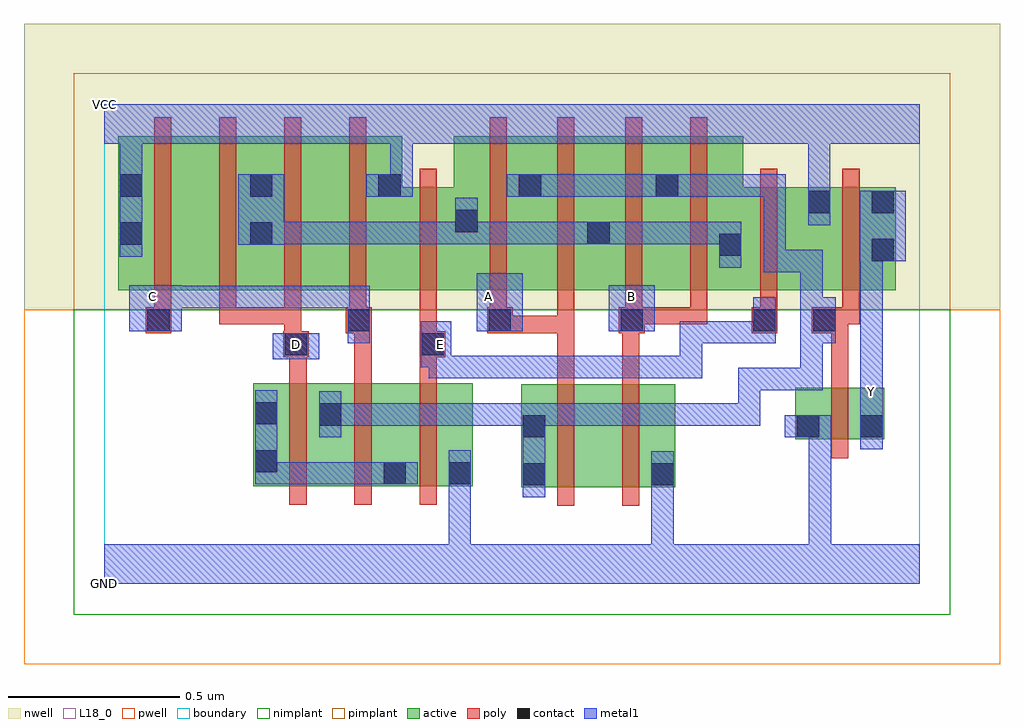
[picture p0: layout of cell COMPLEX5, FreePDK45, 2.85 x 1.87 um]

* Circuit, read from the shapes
.subckt COMPLEX5 A B C D E GND VCC Y
M1 n1 D n2 VSUBS nfet w=0.3u l=0.05u
M2 n2 C n1 VSUBS nfet w=0.3u l=0.05u
M3 GND E n2 VSUBS nfet w=0.3u l=0.05u
M4 n3 A n1 VSUBS nfet w=0.3u l=0.05u
M5 GND B n3 VSUBS nfet w=0.3u l=0.05u
M6 Y n1 GND VSUBS nfet w=0.15u l=0.05u
M7 n4 C VCC n5 pfet w=0.45u l=0.05u
M8 n6 D n4 n5 pfet w=0.45u l=0.05u
M9 n7 D n6 n5 pfet w=0.45u l=0.05u
M10 VCC C n7 n5 pfet w=0.45u l=0.05u
M11 n6 E VCC n5 pfet w=0.3u l=0.05u m=2
M12 n1 A n6 n5 pfet w=0.45u l=0.05u m=2
M13 n1 B n6 n5 pfet w=0.45u l=0.05u m=2
M14 Y n1 VCC n5 pfet w=0.3u l=0.05u
.ends

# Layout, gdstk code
import gdstk
lib = gdstk.Library(unit=1e-6, precision=1e-09)
def R(c, l, rs):  # rectangles x0, y0, x1, y1
    for r in rs: c.add(gdstk.rectangle(r[:2], r[2:], *l))
def A(c, l, x, y, w, h, nx, ny, dx, dy):  # array of equal rectangles
    R(c, l, [(x+i*dx, y+j*dy, x+i*dx+w, y+j*dy+h) for i in range(nx) for j in range(ny)])
active = (1, 0)
pwell = (2, 0)
nwell = (3, 0)
nimplant = (4, 0)
pimplant = (5, 0)
poly = (9, 0)
contact = (10, 0)
metal1 = (11, 0)
L18_0 = (18, 0)
boundary = (235, 0)

complex5 = lib.new_cell('COMPLEX5')
R(complex5, active, [(1.217,0.282,1.442,0.582), (1.217,0.282,1.292,0.497), (1.442,0.282,1.667,0.582), (1.592,0.282,1.667,0.417), (0.435,0.285,0.697,0.585), (0.622,0.285,0.885,0.585), (0.81,0.285,1.075,0.585), (0.81,0.285,0.885,0.547), (1,0.285,1.075,0.445), (0.435,0.32,0.51,0.585), (0.622,0.33,0.697,0.532), (2.017,0.422,2.277,0.572), (2.017,0.422,2.092,0.497), (2.202,0.422,2.277,0.572), (0.04,0.857,0.265,1.307), (0.04,0.857,0.115,1.305), (0.265,0.857,0.495,1.307), (0.42,0.857,0.495,1.2), (0.42,0.857,0.645,1.307), (0.645,0.857,0.87,1.307), (0.795,0.857,1.095,1.157), (1.02,0.857,1.28,1.307), (1.205,0.857,1.28,1.2), (1.205,0.857,1.48,1.307), (1.405,0.857,1.68,1.307), (1.405,0.857,1.48,1.07), (1.605,0.857,1.865,1.307), (1.605,0.857,1.68,1.2), (1.79,0.857,2.125,1.157), (2.05,0.857,2.31,1.157), (2.235,0.857,2.31,1.157), (1.79,0.952,1.865,1.07), (0.795,1.007,0.87,1.307), (1.02,1.007,1.095,1.2), (2.05,1.007,2.125,1.157)])
R(complex5, pwell, [(-0.235,-0.235,2.615,0.8)])
R(complex5, nwell, [(-0.235,0.8,2.615,1.635)])
R(complex5, nimplant, [(-0.09,-0.09,2.47,0.8)])
R(complex5, pimplant, [(-0.09,0.8,2.47,1.49)])
A(complex5, poly, 0.54, 0.23, 0.05, 0.41, 3, 1, 0.19, 0)
A(complex5, poly, 0.145, 0.757, 0.05, 0.095, 4, 1, 0.19, 0)
A(complex5, poly, 0.145, 0.802, 0.05, 0.56, 4, 1, 0.19, 0)
R(complex5, poly, [(1.322,0.227,1.372,0.637), (1.512,0.227,1.562,0.637), (2.122,0.367,2.172,0.627), (2.122,0.577,2.172,0.782), (1.322,0.587,1.372,0.782), (1.512,0.587,1.562,0.782), (0.54,0.59,0.59,0.712), (0.73,0.59,0.78,0.782), (0.92,0.59,0.97,0.712), (0.522,0.662,0.597,0.737), (0.92,0.662,0.995,0.737), (0.525,0.687,0.575,0.807), (0.92,0.687,0.97,0.737), (0.92,0.687,0.97,0.737), (0.92,0.687,0.97,0.852), (0.12,0.732,0.195,0.807), (0.705,0.732,0.78,0.807), (0.73,0.732,0.78,0.782), (0.73,0.732,0.78,0.782), (1.117,0.732,1.192,0.807), (1.142,0.732,1.192,0.782), (1.142,0.732,1.192,0.782), (1.142,0.732,1.372,0.782), (1.322,0.732,1.372,0.782), (1.322,0.732,1.372,0.782), (1.322,0.732,1.372,0.782), (1.322,0.732,1.372,0.852), (1.502,0.732,1.577,0.807), (1.512,0.732,1.562,0.782), (1.512,0.732,1.562,0.782), (1.89,0.732,1.965,0.807), (2.065,0.732,2.172,0.807), (0.335,0.757,0.385,0.807), (0.335,0.757,0.385,0.807), (0.335,0.757,0.385,0.807), (0.335,0.757,0.575,0.807), (0.525,0.757,0.575,0.807), (1.125,0.757,1.175,0.852), (1.52,0.757,1.57,0.852), (1.527,0.757,1.76,0.807), (1.71,0.757,1.76,0.852), (1.71,0.757,1.76,0.807), (1.71,0.757,1.76,0.807), (1.71,0.757,1.76,0.807), (1.915,0.757,1.965,0.852), (1.915,0.757,1.965,0.807), (1.915,0.757,1.965,0.807), (2.122,0.757,2.172,0.807), (2.122,0.757,2.205,0.807), (2.155,0.757,2.205,0.852), (0.92,0.802,0.97,1.212), (1.125,0.802,1.175,1.362), (1.322,0.802,1.372,1.362), (1.52,0.802,1.57,1.362), (1.71,0.802,1.76,1.362), (1.915,0.802,1.965,1.212), (2.155,0.802,2.205,1.212)])
R(complex5, contact, [(1.222,0.287,1.287,0.352), (1.597,0.287,1.662,0.352), (0.815,0.29,0.88,0.355), (1.005,0.29,1.07,0.355), (0.44,0.325,0.505,0.39), (1.222,0.427,1.287,0.492), (2.022,0.427,2.087,0.492), (2.207,0.427,2.272,0.492), (0.627,0.462,0.692,0.527), (0.44,0.465,0.505,0.53), (0.527,0.667,0.592,0.732), (0.925,0.667,0.99,0.732), (0.125,0.737,0.19,0.802), (0.71,0.737,0.775,0.802), (1.122,0.737,1.187,0.802), (1.507,0.737,1.572,0.802), (1.895,0.737,1.96,0.802), (2.07,0.737,2.135,0.802), (2.24,0.942,2.305,1.007), (1.795,0.957,1.86,1.022), (0.045,0.99,0.11,1.055), (0.425,0.99,0.49,1.055), (1.41,0.992,1.475,1.057), (1.025,1.027,1.09,1.092), (2.055,1.082,2.12,1.147), (2.24,1.082,2.305,1.147), (0.045,1.13,0.11,1.195), (0.425,1.13,0.49,1.195), (0.8,1.13,0.865,1.195), (1.21,1.13,1.275,1.195), (1.61,1.13,1.675,1.195)])
R(complex5, metal1, [(0,0,2.38,0.115), (1.005,0.05,1.07,0.32), (1.597,0.05,1.662,0.317), (2.057,0.05,2.122,0.115), (2.057,0.05,2.122,0.115), (2.057,0.05,2.122,0.492), (1.222,0.252,1.287,0.527), (1.597,0.252,1.662,0.317), (1.597,0.252,1.662,0.317), (1.597,0.252,1.662,0.317), (1.597,0.252,1.662,0.317), (1.597,0.252,1.662,0.387), (1.005,0.255,1.07,0.32), (1.005,0.255,1.07,0.32), (1.005,0.255,1.07,0.32), (1.005,0.255,1.07,0.32), (1.005,0.255,1.07,0.39), (0.44,0.29,0.505,0.355), (0.44,0.29,0.505,0.355), (0.44,0.29,0.505,0.565), (0.44,0.29,0.662,0.355), (0.597,0.29,0.662,0.355), (0.597,0.29,0.845,0.355), (0.78,0.29,0.845,0.355), (0.78,0.29,0.845,0.355), (0.78,0.29,0.915,0.355), (2.207,0.392,2.272,0.527), (0.627,0.427,0.692,0.562), (1.987,0.427,2.122,0.492), (2.057,0.427,2.122,0.492), (2.057,0.427,2.122,0.492), (2.057,0.427,2.122,0.492), (2.057,0.427,2.122,0.492), (0.627,0.462,0.692,0.527), (0.627,0.462,0.692,0.527), (0.627,0.462,0.852,0.527), (0.787,0.462,0.852,0.527), (0.787,0.462,0.99,0.527), (0.925,0.462,0.99,0.527), (0.925,0.462,0.99,0.527), (0.925,0.462,0.99,0.527), (0.925,0.462,1.15,0.527), (1.085,0.462,1.15,0.527), (1.085,0.462,1.287,0.527), (1.222,0.462,1.287,0.527), (1.222,0.462,1.287,0.527), (1.222,0.462,1.502,0.527), (1.437,0.462,1.502,0.527), (1.437,0.462,1.502,0.527), (1.437,0.462,1.502,0.527), (1.437,0.462,1.722,0.527), (1.657,0.462,1.722,0.527), (1.657,0.462,1.722,0.527), (1.657,0.462,1.722,0.527), (1.657,0.462,1.915,0.527), (1.85,0.462,1.915,0.63), (2.207,0.462,2.272,0.557), (2.207,0.492,2.272,0.627), (2.207,0.562,2.272,1.007), (1.85,0.565,1.915,0.63), (1.85,0.565,1.915,0.63), (1.85,0.565,2.097,0.63), (2.032,0.565,2.097,0.63), (2.032,0.565,2.097,0.837), (0.947,0.6,1.15,0.665), (0.947,0.6,1.012,0.697), (1.085,0.6,1.15,0.665), (1.085,0.6,1.302,0.665), (1.237,0.6,1.302,0.665), (1.237,0.6,1.302,0.665), (1.237,0.6,1.302,0.665), (1.237,0.6,1.502,0.665), (1.437,0.6,1.502,0.665), (1.437,0.6,1.502,0.665), (1.437,0.6,1.502,0.665), (1.437,0.6,1.722,0.665), (1.657,0.6,1.722,0.665), (1.657,0.6,1.745,0.665), (1.68,0.6,1.745,0.767), (0.925,0.632,1.012,0.767), (0.947,0.632,1.012,0.697), (0.492,0.655,0.627,0.732), (0.71,0.702,0.775,0.87), (1.68,0.702,1.915,0.767), (1.85,0.702,1.915,0.767), (1.85,0.702,1.96,0.767), (1.895,0.702,1.96,0.837), (2.07,0.702,2.135,0.837), (0.072,0.737,0.225,0.872), (1.087,0.737,1.222,0.907), (1.472,0.737,1.607,0.872), (2.032,0.772,2.097,0.837), (2.032,0.772,2.097,0.837), (2.032,0.772,2.097,0.837), (2.032,0.772,2.135,0.837), (2.032,0.772,2.097,0.975), (0.16,0.805,0.225,0.87), (0.16,0.805,0.225,0.87), (0.16,0.805,0.367,0.87), (0.302,0.805,0.367,0.87), (0.302,0.805,0.367,0.87), (0.302,0.805,0.367,0.87), (0.302,0.805,0.555,0.87), (0.49,0.805,0.555,0.87), (0.49,0.805,0.662,0.87), (0.597,0.805,0.662,0.87), (0.597,0.805,0.775,0.87), (1.925,0.91,2.097,0.975), (1.925,0.91,1.99,1.195), (2.032,0.91,2.097,0.975), (2.032,0.91,2.097,0.975), (2.032,0.91,2.097,0.975), (1.795,0.922,1.86,1.057), (2.205,0.942,2.34,1.147), (2.207,0.942,2.272,1.007), (2.207,0.942,2.272,1.007), (0.045,0.955,0.11,1.23), (0.39,0.99,0.525,1.195), (0.46,0.992,0.525,1.057), (0.46,0.992,0.525,1.057), (0.46,0.992,0.692,1.057), (0.627,0.992,0.692,1.057), (0.627,0.992,0.852,1.057), (0.787,0.992,0.852,1.057), (0.787,0.992,0.852,1.057), (0.787,0.992,0.852,1.057), (0.787,0.992,1.012,1.057), (0.947,0.992,1.012,1.057), (0.947,0.992,1.09,1.057), (1.025,0.992,1.09,1.127), (1.025,0.992,1.15,1.057), (1.085,0.992,1.15,1.057), (1.085,0.992,1.287,1.057), (1.222,0.992,1.287,1.057), (1.222,0.992,1.287,1.057), (1.222,0.992,1.287,1.057), (1.222,0.992,1.44,1.057), (1.375,0.992,1.51,1.057), (1.445,0.992,1.572,1.057), (1.507,0.992,1.572,1.057), (1.507,0.992,1.647,1.057), (1.582,0.992,1.647,1.057), (1.582,0.992,1.777,1.057), (1.712,0.992,1.777,1.057), (1.712,0.992,1.86,1.057), (2.055,1.047,2.12,1.182), (2.055,1.117,2.12,1.35), (0.765,1.13,0.9,1.195), (0.835,1.13,0.9,1.35), (1.175,1.13,1.31,1.195), (1.245,1.13,1.31,1.195), (1.245,1.13,1.31,1.195), (1.245,1.13,1.502,1.195), (1.437,1.13,1.502,1.195), (1.437,1.13,1.502,1.195), (1.437,1.13,1.502,1.195), (1.437,1.13,1.64,1.195), (1.575,1.13,1.71,1.195), (1.645,1.13,1.71,1.195), (1.645,1.13,1.71,1.195), (1.645,1.13,1.86,1.195), (1.795,1.13,1.86,1.195), (1.795,1.13,1.99,1.195), (0.045,1.165,0.11,1.35), (0,1.285,2.38,1.4)])
R(complex5, L18_0, [(0,0,2.38,0.115), (1.005,0.05,1.07,0.32), (1.597,0.05,1.662,0.317), (2.057,0.05,2.122,0.115), (2.057,0.05,2.122,0.115), (2.057,0.05,2.122,0.492), (1.597,0.252,1.662,0.317), (1.597,0.252,1.662,0.317), (1.597,0.252,1.662,0.317), (1.597,0.252,1.662,0.317), (1.597,0.252,1.662,0.387), (1.005,0.255,1.07,0.32), (1.005,0.255,1.07,0.32), (1.005,0.255,1.07,0.32), (1.005,0.255,1.07,0.32), (1.005,0.255,1.07,0.39), (2.207,0.392,2.272,0.527), (1.987,0.427,2.122,0.492), (2.057,0.427,2.122,0.492), (2.057,0.427,2.122,0.492), (2.057,0.427,2.122,0.492), (2.057,0.427,2.122,0.492), (2.207,0.462,2.272,0.557), (2.207,0.492,2.272,0.627), (2.207,0.527,2.272,0.592), (2.207,0.562,2.272,1.007), (0.947,0.6,1.012,0.697), (0.947,0.6,1.15,0.665), (1.085,0.6,1.15,0.665), (1.085,0.6,1.302,0.665), (1.237,0.6,1.302,0.665), (1.237,0.6,1.302,0.665), (1.237,0.6,1.302,0.665), (1.237,0.6,1.502,0.665), (1.437,0.6,1.502,0.665), (1.437,0.6,1.502,0.665), (1.437,0.6,1.502,0.665), (1.437,0.6,1.722,0.665), (1.657,0.6,1.722,0.665), (1.657,0.6,1.745,0.665), (1.68,0.6,1.745,0.767), (0.925,0.632,1.012,0.767), (0.947,0.632,1.012,0.697), (0.492,0.655,0.627,0.732), (0.527,0.667,0.592,0.732), (0.947,0.667,1.012,0.732), (0.71,0.702,0.775,0.87), (1.68,0.702,1.915,0.767), (1.85,0.702,1.915,0.767), (1.85,0.702,1.96,0.767), (1.895,0.702,1.96,0.837), (0.072,0.737,0.225,0.872), (1.087,0.737,1.222,0.907), (1.472,0.737,1.607,0.872), (0.16,0.805,0.225,0.87), (0.16,0.805,0.225,0.87), (0.16,0.805,0.367,0.87), (0.302,0.805,0.367,0.87), (0.302,0.805,0.367,0.87), (0.302,0.805,0.367,0.87), (0.302,0.805,0.555,0.87), (0.49,0.805,0.555,0.87), (0.49,0.805,0.662,0.87), (0.597,0.805,0.662,0.87), (0.597,0.805,0.775,0.87), (0.107,0.807,0.172,0.872), (1.087,0.807,1.152,0.872), (1.507,0.807,1.572,0.872), (2.205,0.942,2.34,1.147), (2.207,0.942,2.272,1.007), (2.207,0.942,2.272,1.007), (0.045,0.955,0.11,1.23), (2.055,1.047,2.12,1.182), (2.055,1.117,2.12,1.35), (0.765,1.13,0.9,1.195), (0.835,1.13,0.9,1.35), (0.045,1.165,0.11,1.35), (0,1.285,2.38,1.4)])
R(complex5, boundary, [(0,0,2.38,1.4)])
complex5.add(gdstk.Label('A', (1.12,0.84), layer=11, texttype=0))
complex5.add(gdstk.Label('B', (1.54,0.84), layer=11, texttype=0))
complex5.add(gdstk.Label('C', (0.14,0.84), layer=11, texttype=0))
complex5.add(gdstk.Label('D', (0.56,0.7), layer=11, texttype=0))
complex5.add(gdstk.Label('E', (0.98,0.7), layer=11, texttype=0))
complex5.add(gdstk.Label('Y', (2.24,0.56), layer=11, texttype=0))
complex5.add(gdstk.Label('VCC', (0,1.4), layer=11, texttype=0))
complex5.add(gdstk.Label('GND', (0,0), layer=11, texttype=0))

lib.write_gds('COMPLEX5.gds')
